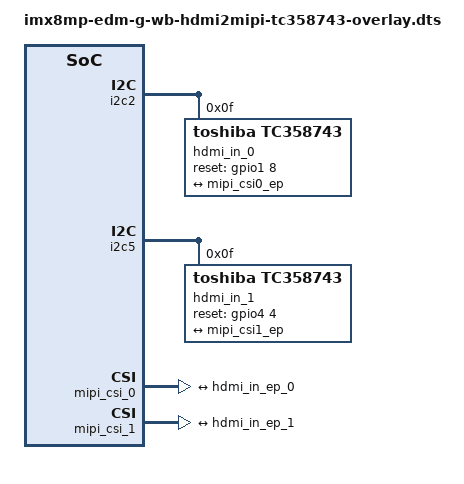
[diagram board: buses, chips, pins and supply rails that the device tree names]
// SPDX-License-Identifier: (GPL-2.0+ OR MIT)
/*
 * Copyright 2020 Technexion Ltd.
 *
 * Author: Ray Chang <ray.chang@technexion.com>
 *
 */

/dts-v1/;
/plugin/;

#include <dt-bindings/interrupt-controller/irq.h>
#include <dt-bindings/gpio/gpio.h>

/ {
	fragment@0 {
		target = <&ov5640_otp_0>;
		__overlay__ {
			status = "disabled";
		};
	};

	fragment@1 {
		target = <&ov5640_otp_1>;
		__overlay__ {
			status = "disabled";
		};
	};

	fragment@2 {
		target = <&ov5640_0>;
		__overlay__ {
			status = "disabled";
		};
	};

	fragment@3 {
		target = <&ov5640_1>;
		__overlay__ {
			status = "disabled";
		};
	};

	fragment@4 {
		target = <&i2c2>;
		__overlay__ {
			#address-cells = <1>;
			#size-cells = <0>;
			status = "okay";

			hdmi_in_0: tc358743@f {
				compatible = "toshiba,tc358743";
				reg = <0x0f>;
				pinctrl-names = "default";
				pinctrl-0 = <&pinctrl_csi0_pwn>, <&pinctrl_csi0_rst>;
				reset-gpios = <&gpio1 8 GPIO_ACTIVE_HIGH>;
				status = "okay";
				port {
					hdmi_in_ep_0: endpoint {
						remote-endpoint = <&mipi_csi0_ep>;
						data-lanes = <1 2 3 4>;
						clock-lanes = <0>;
						clock-noncontinuous;
						link-frequencies = /bits/ 64 <297000000>;
					};
				};
			};
		};
	};

	fragment@5 {
		target = <&i2c5>;
		__overlay__ {
			#address-cells = <1>;
			#size-cells = <0>;
			status = "okay";

			hdmi_in_1: tc358743@f {
				compatible = "toshiba,tc358743";
				reg = <0x0f>;
				pinctrl-names = "default";
				pinctrl-0 = <&pinctrl_csi1_pwn>, <&pinctrl_csi1_rst>;
				reset-gpios = <&gpio4 4 GPIO_ACTIVE_HIGH>;
				status = "okay";
				port {
					hdmi_in_ep_1: endpoint {
						remote-endpoint = <&mipi_csi1_ep>;
						data-lanes = <1 2 3 4>;
						clock-lanes = <0>;
						clock-noncontinuous;
						link-frequencies = /bits/ 64 <297000000>;
					};
				};
			};
		};
	};

	fragment@6 {
		target = <&mipi_csi_0>;
		__overlay__ {
			#address-cells = <1>;
			#size-cells = <0>;
			status = "okay";
			port@0 {
				reg = <0>;
				mipi_csi0_ep: endpoint {
					remote-endpoint = <&hdmi_in_ep_0>;
					data-lanes = <4>;
					csis-hs-settle = <13>;
					csis-clk-settle = <2>;
					csis-wclk;
				};
			};
		};
	};

	fragment@7 {
		target = <&mipi_csi_1>;
		__overlay__ {
			#address-cells = <1>;
			#size-cells = <0>;
			status = "okay";
			port@1 {
				reg = <1>;
				mipi_csi1_ep: endpoint {
					remote-endpoint = <&hdmi_in_ep_1>;
					data-lanes = <4>;
					csis-hs-settle = <13>;
					csis-clk-settle = <2>;
					csis-wclk;
				};
			};
		};
	};

	fragment@8 {
		target-path = "/";
		__overlay__ {
			sound-wm8960 {
				status = "disabled";
			};

			sound-tc358743 {
				compatible = "nxp,imx-audio-tc358743", "nxp,imx-tc358743";
				cpu-dai = <&sai3>;
				nxp,audio-codec = <&hdmi_in_0>;
			};
		};
	};
};

